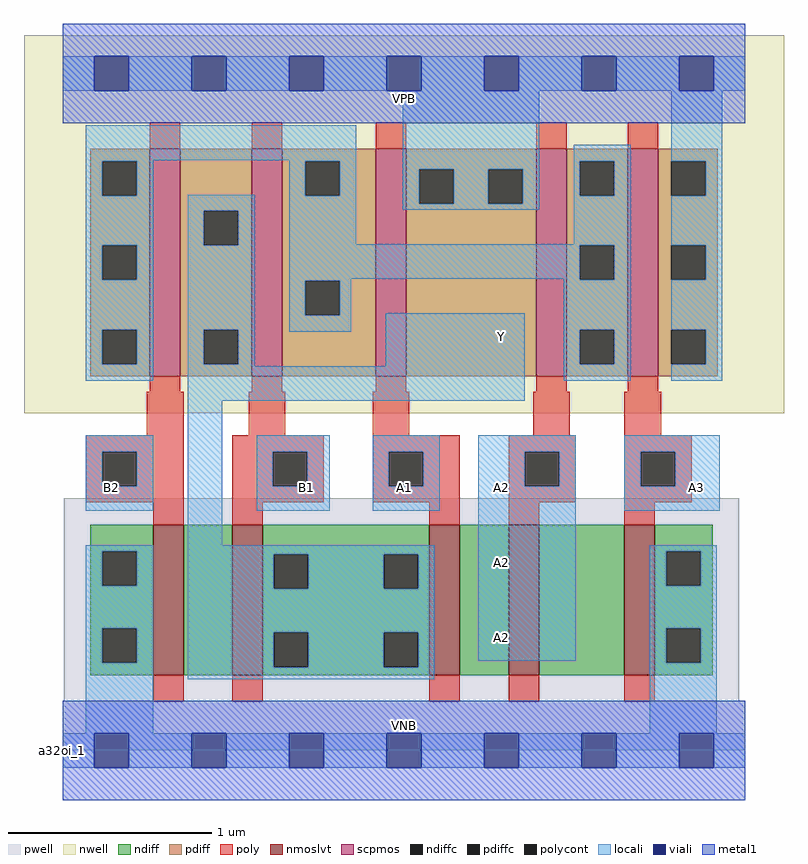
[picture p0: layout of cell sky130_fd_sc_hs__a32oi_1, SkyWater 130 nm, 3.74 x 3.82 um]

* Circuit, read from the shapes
.subckt sky130_fd_sc_hs__a32oi_1 A1 A2 A3 B1 B2 VGND VNB VPB VPWR Y
XM1 n1 B2 VGND VNB sky130_fd_pr__nfet_01v8_lvt w=0.74 l=0.15
XM2 Y B1 n1 VNB sky130_fd_pr__nfet_01v8_lvt w=0.74 l=0.15
XM3 n2 A1 Y VNB sky130_fd_pr__nfet_01v8_lvt w=0.74 l=0.15
XM4 n3 A2 n2 VNB sky130_fd_pr__nfet_01v8_lvt w=0.74 l=0.15
XM5 VGND A3 n3 VNB sky130_fd_pr__nfet_01v8_lvt w=0.74 l=0.15
XM6 Y B2 n4 VPB sky130_fd_pr__pfet_01v8 w=1.12 l=0.15
XM7 n4 B1 Y VPB sky130_fd_pr__pfet_01v8 w=1.12 l=0.15
XM8 VPWR A1 n4 VPB sky130_fd_pr__pfet_01v8 w=1.12 l=0.15
XM9 n4 A2 VPWR VPB sky130_fd_pr__pfet_01v8 w=1.12 l=0.15
XM10 VPWR A3 n4 VPB sky130_fd_pr__pfet_01v8 w=1.12 l=0.15
.ends

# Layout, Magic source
magic
tech sky130A
magscale 1 2
<< nwell >>
rect -38 332 710 704
<< pwell >>
rect 1 49 666 248
rect 0 0 672 49
<< scpmos >>
rect 86 368 116 592
rect 186 368 216 592
rect 308 368 338 592
rect 466 368 496 592
rect 556 368 586 592
<< nmoslvt >>
rect 89 74 119 222
rect 167 74 197 222
rect 361 74 391 222
rect 439 74 469 222
rect 553 74 583 222
<< ndiff >>
rect 27 196 89 222
rect 27 162 39 196
rect 73 162 89 196
rect 27 120 89 162
rect 27 86 39 120
rect 73 86 89 120
rect 27 74 89 86
rect 119 74 167 222
rect 197 193 361 222
rect 197 159 208 193
rect 242 159 316 193
rect 350 159 361 193
rect 197 116 361 159
rect 197 82 208 116
rect 242 82 316 116
rect 350 82 361 116
rect 197 74 361 82
rect 391 74 439 222
rect 469 74 553 222
rect 583 196 640 222
rect 583 162 594 196
rect 628 162 640 196
rect 583 120 640 162
rect 583 86 594 120
rect 628 86 640 120
rect 583 74 640 86
<< pdiff >>
rect 27 580 86 592
rect 27 546 39 580
rect 73 546 86 580
rect 27 497 86 546
rect 27 463 39 497
rect 73 463 86 497
rect 27 414 86 463
rect 27 380 39 414
rect 73 380 86 414
rect 27 368 86 380
rect 116 531 186 592
rect 116 497 139 531
rect 173 497 186 531
rect 116 414 186 497
rect 116 380 139 414
rect 173 380 186 414
rect 116 368 186 380
rect 216 580 308 592
rect 216 546 239 580
rect 273 546 308 580
rect 216 462 308 546
rect 216 428 239 462
rect 273 428 308 462
rect 216 368 308 428
rect 338 572 466 592
rect 338 538 351 572
rect 385 538 419 572
rect 453 538 466 572
rect 338 368 466 538
rect 496 580 556 592
rect 496 546 509 580
rect 543 546 556 580
rect 496 497 556 546
rect 496 463 509 497
rect 543 463 556 497
rect 496 414 556 463
rect 496 380 509 414
rect 543 380 556 414
rect 496 368 556 380
rect 586 580 645 592
rect 586 546 599 580
rect 633 546 645 580
rect 586 497 645 546
rect 586 463 599 497
rect 633 463 645 497
rect 586 414 645 463
rect 586 380 599 414
rect 633 380 645 414
rect 586 368 645 380
<< ndiffc >>
rect 39 162 73 196
rect 39 86 73 120
rect 208 159 242 193
rect 316 159 350 193
rect 208 82 242 116
rect 316 82 350 116
rect 594 162 628 196
rect 594 86 628 120
<< pdiffc >>
rect 39 546 73 580
rect 39 463 73 497
rect 39 380 73 414
rect 139 497 173 531
rect 139 380 173 414
rect 239 546 273 580
rect 239 428 273 462
rect 351 538 385 572
rect 419 538 453 572
rect 509 546 543 580
rect 509 463 543 497
rect 509 380 543 414
rect 599 546 633 580
rect 599 463 633 497
rect 599 380 633 414
<< poly >>
rect 86 592 116 618
rect 186 592 216 618
rect 308 592 338 618
rect 466 592 496 618
rect 556 592 586 618
rect 86 353 116 368
rect 186 353 216 368
rect 308 353 338 368
rect 466 353 496 368
rect 556 353 586 368
rect 83 310 119 353
rect 183 310 219 353
rect 305 310 341 353
rect 463 310 499 353
rect 553 310 589 353
rect 23 294 119 310
rect 23 260 39 294
rect 73 260 119 294
rect 23 244 119 260
rect 89 222 119 244
rect 167 294 257 310
rect 167 260 207 294
rect 241 260 257 294
rect 167 244 257 260
rect 305 294 391 310
rect 305 260 321 294
rect 355 260 391 294
rect 305 244 391 260
rect 167 222 197 244
rect 361 222 391 244
rect 439 294 505 310
rect 439 260 455 294
rect 489 260 505 294
rect 439 244 505 260
rect 553 294 619 310
rect 553 260 569 294
rect 603 260 619 294
rect 553 244 619 260
rect 439 222 469 244
rect 553 222 583 244
rect 89 48 119 74
rect 167 48 197 74
rect 361 48 391 74
rect 439 48 469 74
rect 553 48 583 74
<< polycont >>
rect 39 260 73 294
rect 207 260 241 294
rect 321 260 355 294
rect 455 260 489 294
rect 569 260 603 294
<< locali >>
rect 0 649 31 683
rect 65 649 127 683
rect 161 649 223 683
rect 257 649 319 683
rect 353 649 415 683
rect 449 649 511 683
rect 545 649 607 683
rect 641 649 672 683
rect 23 581 289 615
rect 23 580 89 581
rect 23 546 39 580
rect 73 546 89 580
rect 223 580 289 581
rect 23 497 89 546
rect 23 463 39 497
rect 73 463 89 497
rect 23 414 89 463
rect 23 380 39 414
rect 73 380 89 414
rect 23 364 89 380
rect 123 531 189 547
rect 123 497 139 531
rect 173 497 189 531
rect 123 414 189 497
rect 123 380 139 414
rect 173 380 189 414
rect 223 546 239 580
rect 273 546 289 580
rect 223 498 289 546
rect 335 572 469 649
rect 335 538 351 572
rect 385 538 419 572
rect 453 538 469 572
rect 335 532 469 538
rect 503 580 559 596
rect 503 546 509 580
rect 543 546 559 580
rect 503 498 559 546
rect 223 497 559 498
rect 223 464 509 497
rect 223 462 284 464
rect 223 428 239 462
rect 273 428 284 462
rect 493 463 509 464
rect 543 463 559 497
rect 223 412 284 428
rect 123 378 189 380
rect 318 378 455 430
rect 123 344 455 378
rect 493 414 559 463
rect 493 380 509 414
rect 543 380 559 414
rect 493 364 559 380
rect 599 580 649 649
rect 633 546 649 580
rect 599 497 649 546
rect 633 463 649 497
rect 599 414 649 463
rect 633 380 649 414
rect 599 364 649 380
rect 23 294 89 310
rect 23 260 39 294
rect 73 260 89 294
rect 23 236 89 260
rect 123 202 157 344
rect 191 294 263 310
rect 191 260 207 294
rect 241 260 263 294
rect 191 236 263 260
rect 305 294 371 310
rect 305 260 321 294
rect 355 260 371 294
rect 305 236 371 260
rect 409 294 505 310
rect 409 260 455 294
rect 489 260 505 294
rect 23 196 89 202
rect 23 162 39 196
rect 73 162 89 196
rect 23 120 89 162
rect 23 86 39 120
rect 73 86 89 120
rect 23 17 89 86
rect 123 193 366 202
rect 123 159 208 193
rect 242 159 316 193
rect 350 159 366 193
rect 123 116 366 159
rect 123 82 208 116
rect 242 82 316 116
rect 350 82 366 116
rect 409 88 505 260
rect 553 294 647 310
rect 553 260 569 294
rect 603 260 647 294
rect 553 236 647 260
rect 578 196 644 202
rect 578 162 594 196
rect 628 162 644 196
rect 578 120 644 162
rect 123 70 366 82
rect 578 86 594 120
rect 628 86 644 120
rect 578 17 644 86
rect 0 -17 31 17
rect 65 -17 127 17
rect 161 -17 223 17
rect 257 -17 319 17
rect 353 -17 415 17
rect 449 -17 511 17
rect 545 -17 607 17
rect 641 -17 672 17
<< viali >>
rect 31 649 65 683
rect 127 649 161 683
rect 223 649 257 683
rect 319 649 353 683
rect 415 649 449 683
rect 511 649 545 683
rect 607 649 641 683
rect 31 -17 65 17
rect 127 -17 161 17
rect 223 -17 257 17
rect 319 -17 353 17
rect 415 -17 449 17
rect 511 -17 545 17
rect 607 -17 641 17
<< metal1 >>
rect 0 683 672 715
rect 0 649 31 683
rect 65 649 127 683
rect 161 649 223 683
rect 257 649 319 683
rect 353 649 415 683
rect 449 649 511 683
rect 545 649 607 683
rect 641 649 672 683
rect 0 617 672 649
rect 0 17 672 49
rect 0 -17 31 17
rect 65 -17 127 17
rect 161 -17 223 17
rect 257 -17 319 17
rect 353 -17 415 17
rect 449 -17 511 17
rect 545 -17 607 17
rect 641 -17 672 17
rect 0 -49 672 -17
<< labels >>
rlabel comment s 0 0 0 0 4 a32oi_1
flabel pwell s 0 0 672 49 0 FreeSans 200 0 0 0 VNB
port 7 nsew ground bidirectional
flabel nwell s 0 617 672 666 0 FreeSans 200 0 0 0 VPB
port 8 nsew power bidirectional
flabel metal1 s 0 617 672 666 0 FreeSans 340 0 0 0 VPWR
port 9 nsew power bidirectional
flabel metal1 s 0 0 672 49 0 FreeSans 340 0 0 0 VGND
port 6 nsew ground bidirectional
flabel locali s 607 242 641 276 0 FreeSans 340 0 0 0 A3
port 3 nsew signal input
flabel locali s 31 242 65 276 0 FreeSans 340 0 0 0 B2
port 5 nsew signal input
flabel locali s 223 242 257 276 0 FreeSans 340 0 0 0 B1
port 4 nsew signal input
flabel locali s 415 94 449 128 0 FreeSans 340 0 0 0 A2
port 2 nsew signal input
flabel locali s 415 168 449 202 0 FreeSans 340 0 0 0 A2
port 2 nsew signal input
flabel locali s 415 242 449 276 0 FreeSans 340 0 0 0 A2
port 2 nsew signal input
flabel locali s 415 390 449 424 0 FreeSans 340 0 0 0 Y
port 10 nsew signal output
flabel locali s 319 242 353 276 0 FreeSans 340 0 0 0 A1
port 1 nsew signal input
<< properties >>
string LEFsite unit
string LEFclass CORE
string FIXED_BBOX 0 0 672 666
string GDS_FILE $PDKPATH/libs.ref/sky130_fd_sc_hs/gds/sky130_fd_sc_hs.gds
string LEFsymmetry X Y
string GDS_END 109844
string GDS_START 103318
<< end >>
